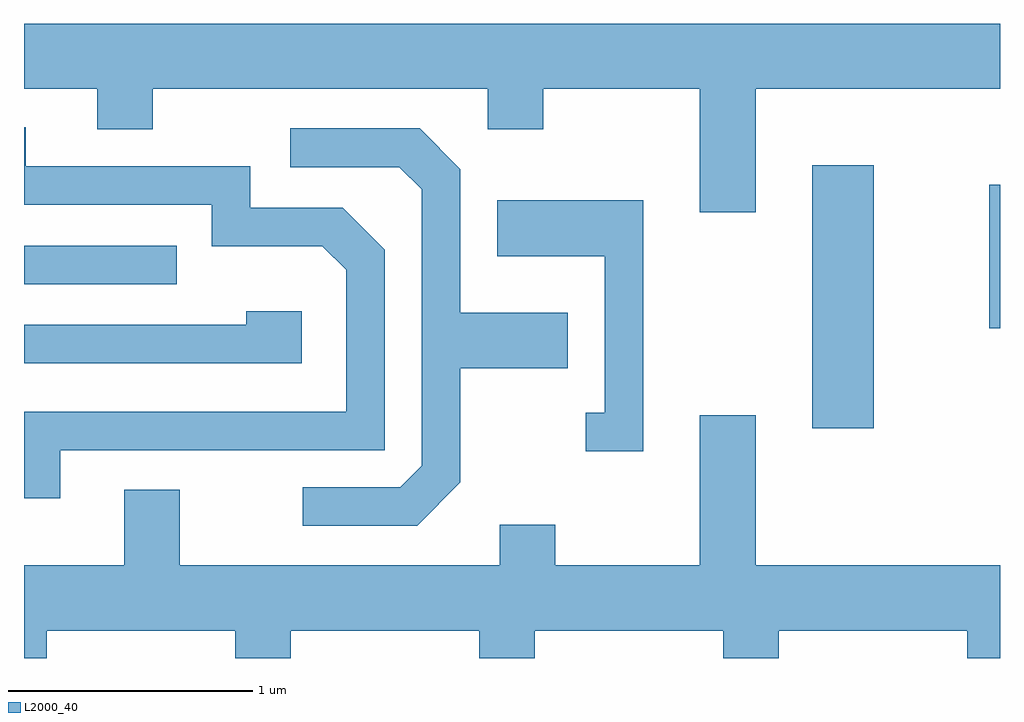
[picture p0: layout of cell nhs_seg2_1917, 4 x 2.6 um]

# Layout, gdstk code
import gdstk
lib = gdstk.Library(unit=1e-6, precision=1e-09)
def R(c, l, rs):  # rectangles x0, y0, x1, y1
    for r in rs: c.add(gdstk.rectangle(r[:2], r[2:], *l))
def P(c, l, *ps):  # polygons
    for p in ps: c.add(gdstk.Polygon(p, *l))
L2000_40 = (2000, 40)

nhs_seg2_1917 = lib.new_cell('nhs_seg2_1917')
R(nhs_seg2_1917, L2000_40, [(244.841,1004.746,245.094,1005.824), (245.566,1005.156,245.611,1005.744), (241.611,1005.336,242.238,1005.494)])
P(nhs_seg2_1917, L2000_40, [(244.609,1006.136),(245.611,1006.136),(245.611,1006.404),(241.611,1006.404),(241.611,1006.136),(241.911,1006.136),(241.911,1005.971),(242.139,1005.971),(242.139,1006.136),(243.511,1006.136),(243.511,1005.971),(243.739,1005.971),(243.739,1006.136),(244.381,1006.136),(244.381,1005.631),(244.609,1005.631)],
  [(241.759,1004.656),(243.089,1004.656),(243.089,1005.477),(242.917,1005.649),(242.539,1005.649),(242.539,1005.819),(241.619,1005.819),(241.619,1005.979),(241.611,1005.979),(241.611,1005.661),(242.381,1005.661),(242.381,1005.491),(242.834,1005.491),(242.931,1005.394),(242.931,1004.814),(241.611,1004.814),(241.611,1004.458),(241.759,1004.458)],
  [(243.399,1004.524),(243.399,1004.991),(243.839,1004.991),(243.839,1005.219),(243.399,1005.219),(243.399,1005.807),(243.232,1005.974),(242.703,1005.974),(242.703,1005.816),(243.149,1005.816),(243.241,1005.724),(243.241,1004.592),(243.154,1004.504),(242.753,1004.504),(242.753,1004.346),(243.222,1004.346)],
  [(244.149,1005.679),(243.551,1005.679),(243.551,1005.451),(243.991,1005.451),(243.991,1004.809),(243.913,1004.809),(243.913,1004.651),(244.149,1004.651)],
  [(242.749,1005.224),(242.521,1005.224),(242.521,1005.169),(241.611,1005.169),(241.611,1005.011),(242.749,1005.011)],
  [(241.704,1003.916),(242.476,1003.916),(242.476,1003.802),(242.704,1003.802),(242.704,1003.916),(243.476,1003.916),(243.476,1003.802),(243.704,1003.802),(243.704,1003.916),(244.476,1003.916),(244.476,1003.802),(244.704,1003.802),(244.704,1003.916),(245.476,1003.916),(245.476,1003.802),(245.611,1003.802),(245.611,1004.184),(244.609,1004.184),(244.609,1004.799),(244.381,1004.799),(244.381,1004.184),(243.789,1004.184),(243.789,1004.349),(243.561,1004.349),(243.561,1004.184),(242.249,1004.184),(242.249,1004.494),(242.021,1004.494),(242.021,1004.184),(241.611,1004.184),(241.611,1003.802),(241.704,1003.802)])

lib.write_gds('nhs_seg2_1917.gds')
